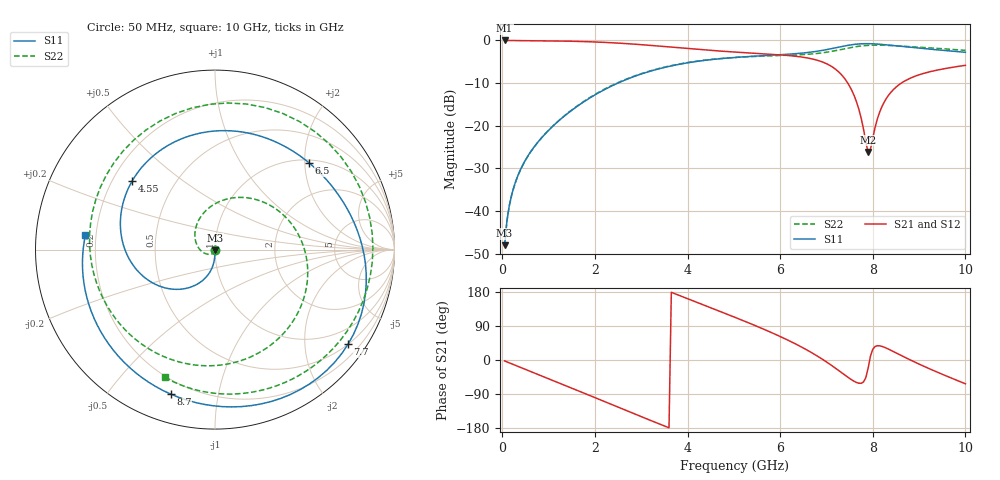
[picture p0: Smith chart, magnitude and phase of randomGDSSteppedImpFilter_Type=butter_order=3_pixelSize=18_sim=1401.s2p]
! freq	dB(S11)	phase(S11)	dB(S12)	phase(S12)
!  dB(S21)	phase(S21)	dB(S22)	phase(S22)
!S-par simulation data
#  GHz  S  DB  R 50
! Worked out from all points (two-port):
!   200 points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, 50 MHz to 10 GHz, reference 50 ohm
!   highest |S21| = 0.00 dB at 50 MHz (marker M1); lowest = -26.2 dB at 7.9 GHz (marker M2)
!   |S21| within 3 dB of the highest: start of sweep to 5.442 GHz
!   lowest |S11| = -48.1 dB at 50 MHz (marker M3), VSWR 1.01, Z = 50 - j0.393 ohm
!   |S11| at or under -10 dB: start of sweep to 2.497 GHz
!   |S22| runs from -48.3 to -1.1 dB; largest |S21 - S12| = 0
!   S11 on the Smith chart (normalised r, x): 50 MHz: 1.00, -0.01; 4.55 GHz: 0.28, +0.33; 6.5 GHz: 1.07, +2.10; 7.7 GHz: 0.50, -3.06; 8.7 GHz: 0.13, -0.73; 10 GHz: 0.16, +0.05
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0.05  -48.09 -86.0  -0.00 -2.5  -0.00 -2.5  -48.25 -93.0
0.1  -42.28 -87.8  -0.01 -5.0  -0.01 -5.0  -42.35 -97.9
0.2  -36.29 -89.5  -0.02 -9.9  -0.02 -9.9  -36.44 -108.6
0.45  -29.03 -91.6  -0.04 -22.2  -0.04 -22.2  -29.11 -133.5
1.15  -19.51 -99.6  -0.12 -56.7  -0.12 -56.7  -19.48 164.0
1.75  -14.46 -112.5  -0.26 -86.7  -0.26 -86.7  -14.37 117.2
2.65  -9.29 -141.1  -0.72 -132.0  -0.72 -132.0  -9.18 55.4
3.4  -6.60 -170.1  -1.34 -169.2  -1.34 -169.2  -6.53 10.5
4.55  -4.45 140.4  -2.37 135.5  -2.37 135.5  -4.41 -49.9
5.05  -3.97 117.2  -2.75 111.3  -2.75 111.3  -3.97 -74.6
5.85  -3.45 77.4  -3.27 70.4  -3.27 70.4  -3.59 -116.4
6.5  -2.94 42.7  -3.95 31.7  -3.95 31.7  -3.31 -160.2
6.7  -2.69 31.6  -4.36 18.0  -4.36 18.0  -3.16 -177.5
7.15  -1.83 4.6  -6.38 -17.7  -6.38 -17.7  -2.49 133.1
7.45  -1.18 -16.3  -9.83 -44.5  -9.83 -44.5  -1.83 92.1
7.7  -0.82 -35.4  -16.17 -61.3  -16.17 -61.3  -1.36 56.5
7.9  -0.76 -51.0  -26.18 -21.2  -26.18 -21.2  -1.16 29.7
8.15  -0.89 -69.8  -16.78 37.4  -16.78 37.4  -1.11 0.6
8.35  -1.10 -83.9  -12.72 28.1  -12.72 28.1  -1.18 -19.0
8.7  -1.49 -107.1  -9.45 6.7  -9.45 6.7  -1.38 -46.6
9.35  -2.16 -147.2  -7.05 -29.9  -7.05 -29.9  -1.83 -83.5
10  -2.78 173.5  -5.83 -62.8  -5.83 -62.8  -2.33 -111.4
